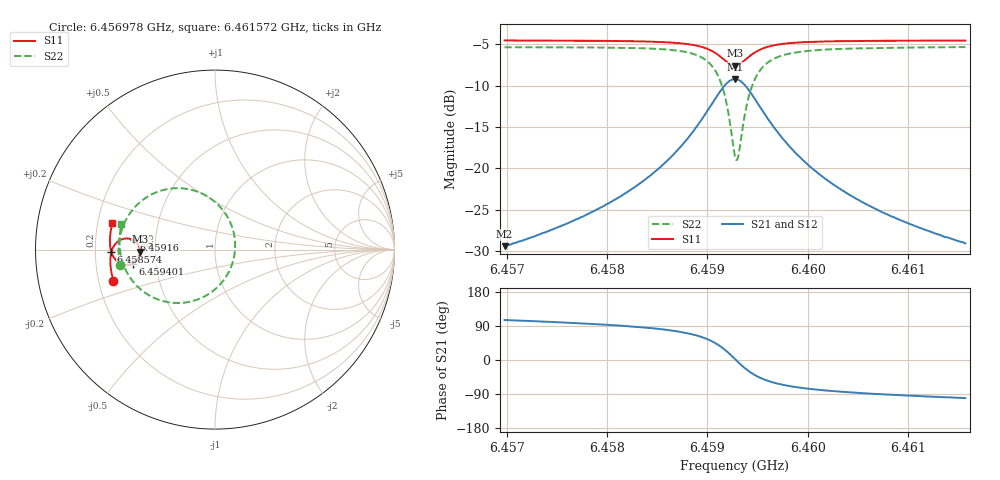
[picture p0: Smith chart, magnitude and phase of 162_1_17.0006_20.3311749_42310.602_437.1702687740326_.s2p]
#  HZ  S  RI  R  50.00
! Rohde & Schwarz Vector Network Analyzer
! Rohde-Schwarz,ZNB20-2Port,1311601062101988,3.16
! Created: UTC 3/20/2024, 10:59:17 PM
! freq[Hz]  re:S11  im:S11  re:S21  im:S21  re:S12  im:S12  re:S22  im:S22
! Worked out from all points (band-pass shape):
!   401 points, 6.456978 GHz to 6.461572 GHz, reference 50 ohm
!   highest |S21| = -9.22 dB at 6.459275 GHz (marker M1); lowest = -29.4 dB at 6.456978 GHz (marker M2)
!   |S21| within 3 dB of the highest: 6.459045 GHz to 6.459504 GHz (459 kHz wide, 0.00711 % of centre)
!   lowest |S11| = -7.6 dB at 6.459275 GHz (marker M3), VSWR 2.43, Z = 20.6 - j0.585 ohm
!   |S11| at or under -10 dB: nowhere
!   |S22| runs from -19.0 to -5.4 dB; largest |S21 - S12| = 0.013
!   S11 on the Smith chart (normalised r, x): 6.456978 GHz: 0.26, -0.14; 6.458574 GHz: 0.27, -0.01; 6.45916 GHz: 0.37, +0.05; 6.459401 GHz: 0.37, -0.07; 6.461572 GHz: 0.26, +0.12
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6.4569776e9  -0.5661 -0.1735  -0.00904 0.0325  -0.0073 0.0324  -0.5317 -0.0862
6.4577473e9  -0.5803 -0.1061  -0.00587 0.0504  -0.00335 0.0498  -0.5373 0.00398
6.4581838e9  -0.5833 -0.0623  0.00033 0.0707  0.0037 0.0693  -0.5291 0.0735
6.4585169e9  -0.5796 -0.0223  0.0139 0.0988  0.0179 0.0962  -0.5042 0.149
6.4585743e9  -0.5777 -0.0144  0.0182 0.1059  0.0224 0.1028  -0.4962 0.1657
6.4587811e9  -0.5648 0.0179  0.046 0.1384  0.0498 0.1335  -0.4447 0.2386
6.4589304e9  -0.5421 0.0443  0.0912 0.169  0.0943 0.1624  -0.3614 0.3032
6.4590683e9  -0.4981 0.0619  0.1784 0.1859  0.1795 0.1784  -0.2021 0.3422
6.4591602e9  -0.4533 0.0515  0.2688 0.1546  0.269 0.1488  -0.0353 0.2919
6.4592291e9  -0.4241 0.0194  0.3295 0.0827  0.3314 0.0773  0.0803 0.1622
6.4592751e9  -0.4172 -0.0118  0.3457 0.0145  0.3494 0.00761  0.1123 0.0353
6.4592865e9  -0.4177 -0.0198  0.3454 -0.00324  0.3494 -0.0109  0.1121 0.0017
6.4593095e9  -0.4212 -0.0355  0.3398 -0.0378  0.3437 -0.047  0.1008 -0.064
6.4593555e9  -0.4368 -0.0617  0.3114 -0.098  0.3135 -0.1098  0.0431 -0.177
6.4594014e9  -0.4589 -0.078  0.2693 -0.139  0.2684 -0.1521  -0.0421 -0.2517
6.4594933e9  -0.5025 -0.0849  0.1846 -0.1702  0.1783 -0.1815  -0.2103 -0.2976
6.4596426e9  -0.5464 -0.0644  0.0967 -0.1565  0.0882 -0.1625  -0.3775 -0.2484
6.4598149e9  -0.569 -0.035  0.0497 -0.1269  0.0422 -0.1293  -0.4616 -0.172
6.4600447e9  -0.5809 -0.00139  0.0224 -0.0972  0.0168 -0.0977  -0.5061 -0.0946
6.4603893e9  -0.5856 0.0397  0.00649 -0.0704  0.00241 -0.07  -0.5278 -0.0157
6.4608143e9  -0.5838 0.0824  -0.00137 -0.0518  -0.00405 -0.051  -0.5321 0.0524
6.4615725e9  -0.5718 0.1496  -0.00647 -0.0345  -0.00819 -0.0336  -0.521 0.142
